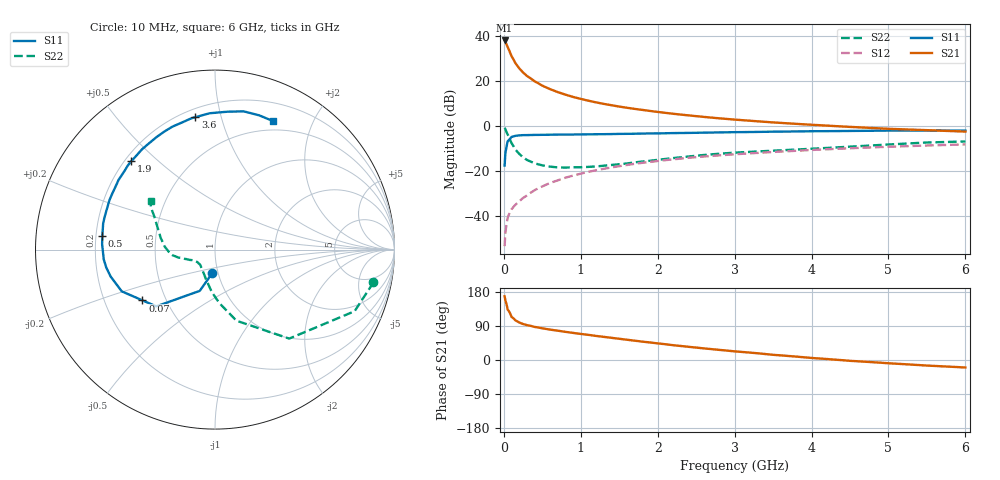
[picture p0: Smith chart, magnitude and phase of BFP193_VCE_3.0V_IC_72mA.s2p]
! Infineon Technologies  Discrete & RF Semiconductors
! BFP193
! VCE =  3.0 V,  IC =  72 mA
! Common Emitter S-Parameters:  Jan 2017
# GHz  S  MA  R  50
!  f  S11  S21  S12  S22
! GHz  MAG  ANG  MAG  ANG  MAG  ANG  MAG  ANG
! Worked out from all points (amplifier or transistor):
!   77 points, 10 MHz to 6 GHz, reference 50 ohm
!   highest |S21| = 38.0 dB at 10 MHz (marker M1)
!   |S21| within 3 dB of that: start of sweep to 50.5 MHz
!   unconditionally stable (mu >= 1): 388.5 MHz to 2.409 GHz
!   at 130 MHz: K = 0.73, MSG = 32.6 dB, |S12| = -35.9 dB
!   at 2.2 GHz: K = 1.01, MAG = 9.6 dB, |S12| = -14.9 dB
!   at 6 GHz: K = 0.94, MSG = 2.8 dB, |S12| = -8.2 dB
!   S11 on the Smith chart (normalised r, x): 10 MHz: 0.94, -0.25; 70 MHz: 0.37, -0.28; 500 MHz: 0.23, +0.06; 1.9 GHz: 0.23, +0.41; 3.6 GHz: 0.25, +0.83; 6 GHz: 0.39, +1.47
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0.01  0.1303 -96.2  79.73 168.2  0.0021 82.4  0.9018 -11.7
0.02  0.2453 -110.3  76.06 157.4  0.0041 80.7  0.8502 -23.8
0.05  0.4552 -136.0  56.68 133.1  0.009 58.9  0.6454 -50.2
0.07  0.4934 -145.0  47.65 127.4  0.011 60.6  0.5431 -57.1
0.1  0.5693 -155.9  35.53 113.7  0.0139 62.2  0.4131 -73.3
0.15  0.6005 -165.5  24.99 104.6  0.0175 61.1  0.2985 -85.4
0.2  0.6142 -170.7  19.14 99.0  0.0209 66.2  0.2378 -94.2
0.25  0.6223 -175.0  15.46 94.9  0.0249 65.9  0.1998 -100.4
0.3  0.6236 -177.9  12.95 92.1  0.0282 68.5  0.1745 -106.5
0.4  0.6297 177.2  9.816 87.3  0.037 70.6  0.1466 -115.3
0.5  0.6323 173.2  7.867 83.6  0.0449 70.6  0.1324 -122.4
0.7  0.64 166.8  5.657 77.4  0.0612 71.3  0.119 -133.5
0.9  0.6426 160.5  4.409 71.5  0.0783 69.0  0.1195 -140.5
1.1  0.6494 155.0  3.633 66.3  0.095 67.6  0.1223 -146.3
1.5  0.663 144.2  2.689 56.0  0.1267 62.7  0.1403 -155.3
1.9  0.6783 133.5  2.15 46.3  0.1575 57.6  0.1675 -161.6
2.1  0.6853 128.5  1.951 41.6  0.1726 54.7  0.1835 -164.4
3.1  0.7271 107.3  1.34 21.2  0.2388 41.4  0.2587 -177.5
3.6  0.7456 98.5  1.165 12.2  0.2679 35.5  0.2858 174.7
4.1  0.7614 90.8  1.036 4.0  0.2958 29.3  0.316 165.8
5.1  0.786 77.0  0.849 -9.8  0.3473 17.5  0.3932 150.4
6  0.7857 65.9  0.746 -19.8  0.3872 7.4  0.4501 142.9
